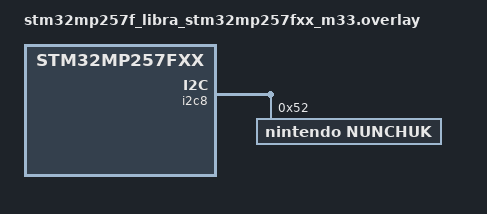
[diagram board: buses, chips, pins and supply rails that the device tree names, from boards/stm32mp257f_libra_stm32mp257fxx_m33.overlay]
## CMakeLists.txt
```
# SPDX-License-Identifier: Apache-2.0

cmake_minimum_required(VERSION 3.28.0)
find_package(Zephyr REQUIRED HINTS $ENV{ZEPHYR_BASE})
project(test_i2c_dump)

FILE(GLOB app_sources src/*.c)
target_sources(app PRIVATE ${app_sources})
```

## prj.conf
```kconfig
# --- Console / sortie des logs ---
CONFIG_CONSOLE=y
CONFIG_UART_CONSOLE=y

# --- I2C ---
CONFIG_I2C=y
CONFIG_I2C_SHELL=y
# CONFIG_I2C_DUMP_MESSAGES=y

# --- LED PCA9633 ---
CONFIG_LED=y
CONFIG_PCA9633=y

# --- Nunchuk ---
CONFIG_INPUT=y
CONFIG_INPUT_NUNCHUK=y
CONFIG_INPUT_NUNCHUK_ACCELERATION=y

# --- Analyse des threads ---
CONFIG_THREAD_ANALYZER=y
CONFIG_THREAD_ANALYZER_USE_PRINTK=y
CONFIG_THREAD_ANALYZER_AUTO=y
CONFIG_PRINTK=y
```

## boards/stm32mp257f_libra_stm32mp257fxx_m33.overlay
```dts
/*
 * Copyright (C) 2025 PHYTEC Messtechnik GmbH
 * Authors: Hong-Ly Ky <h.ky@phytec.fr>
 *          Christophe Parant <c.parant@phytec.fr>
 *          Nicolas Raimundo <n.raimundo@phytec.fr>
 */
 
#include <zephyr/dt-bindings/display/panel.h>
#include <zephyr/dt-bindings/input/input-event-codes.h>
#include <zephyr/dt-bindings/dma/stm32_dma.h>
 
/delete-node/ &ddr_code;
/delete-node/ &ddr_sys;

/ {
   /* Remap to SRAM1 physical address */
   ddr_code: memory0@a043000 {
     reg = <0xa043000 0x1d000>;
     ranges = <0x0 0xa043000 0x1d000>;
     #address-cells = <1>;
     #size-cells = <1>;
   };

   /* Remap to RETRAM physical address */
   ddr_sys: memory1@a080000 {
     reg = <0xa080000 0x1f000>;
     ranges = <0x0 0xa080000 0x1f000>;
     #address-cells = <1>;
     #size-cells = <1>;
   };
   
     aliases {
 		nunchuk0 = &nunchuk;
 	};
};

&i2c8 {
  status="okay";
	nunchuk: joystick@52 {
		compatible = "nintendo,nunchuk";
		reg = <0x52>;
    status="okay";
	};
};
```

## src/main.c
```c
#include <stdint.h>
#include <zephyr/kernel.h>
#include <zephyr/device.h>
#include <zephyr/devicetree.h>
#include <zephyr/sys/printk.h>
#include <zephyr/sys/sys_io.h>
#include "nunchuk.h"

int main(void)
{
	printk("COUCOU");
	while (1) {
		read_nunchuk();
		k_msleep(50);
	}

	return 0;
}
```
